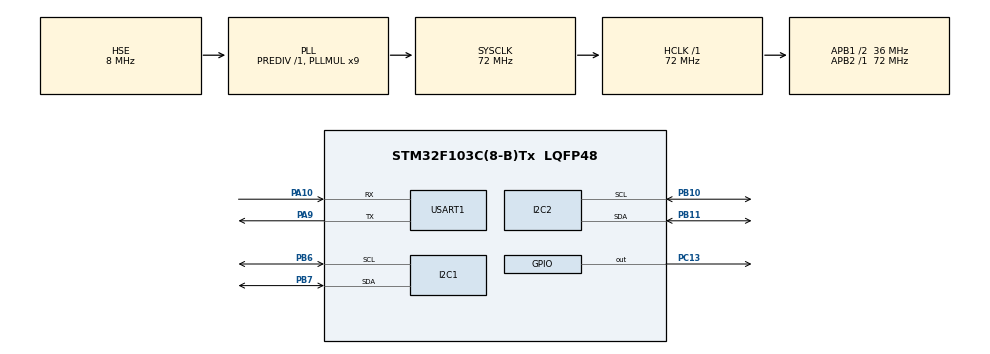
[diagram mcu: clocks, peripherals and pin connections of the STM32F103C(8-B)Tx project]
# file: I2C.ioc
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Dma.I2C1_RX.0.Direction=DMA_PERIPH_TO_MEMORY
Dma.I2C1_RX.0.Instance=DMA1_Channel7
Dma.I2C1_RX.0.MemDataAlignment=DMA_MDATAALIGN_BYTE
Dma.I2C1_RX.0.MemInc=DMA_MINC_ENABLE
Dma.I2C1_RX.0.Mode=DMA_NORMAL
Dma.I2C1_RX.0.PeriphDataAlignment=DMA_PDATAALIGN_BYTE
Dma.I2C1_RX.0.PeriphInc=DMA_PINC_DISABLE
Dma.I2C1_RX.0.Priority=DMA_PRIORITY_LOW
Dma.I2C1_TX.1.Direction=DMA_MEMORY_TO_PERIPH
Dma.I2C1_TX.1.Instance=DMA1_Channel6
Dma.I2C1_TX.1.MemDataAlignment=DMA_MDATAALIGN_BYTE
Dma.I2C1_TX.1.MemInc=DMA_MINC_ENABLE
Dma.I2C1_TX.1.Mode=DMA_NORMAL
Dma.I2C1_TX.1.PeriphDataAlignment=DMA_PDATAALIGN_BYTE
Dma.I2C1_TX.1.PeriphInc=DMA_PINC_DISABLE
Dma.I2C1_TX.1.Priority=DMA_PRIORITY_LOW
Dma.Request0=I2C1_RX
Dma.Request1=I2C1_TX
Mcu.Family=STM32F1
Mcu.Name=STM32F103C(8-B)Tx
Mcu.Package=LQFP48
NVIC.DMA1_Channel6_IRQn=true\:0\:0\:false\:false\:true\:false\:true\:true
NVIC.DMA1_Channel7_IRQn=true\:0\:0\:false\:false\:true\:false\:true\:true
NVIC.PriorityGroup=NVIC_PRIORITYGROUP_4
NVIC.USART1_IRQn=true\:0\:0\:false\:false\:true\:true\:true\:true
PA10.Mode=Asynchronous
PA10.Signal=USART1_RX
PA13.Mode=Serial_Wire
PA13.Signal=SYS_JTMS-SWDIO
PA14.Mode=Serial_Wire
PA14.Signal=SYS_JTCK-SWCLK
PA9.Mode=Asynchronous
PA9.Signal=USART1_TX
PB10.Mode=I2C
PB10.Signal=I2C2_SCL
PB11.Mode=I2C
PB11.Signal=I2C2_SDA
PB6.Mode=I2C
PB6.Signal=I2C1_SCL
PB7.Mode=I2C
PB7.Signal=I2C1_SDA
PC13-TAMPER-RTC.PinState=GPIO_PIN_SET
PC13-TAMPER-RTC.Signal=GPIO_Output
PD0-OSC_IN.Mode=HSE-External-Oscillator
PD0-OSC_IN.Signal=RCC_OSC_IN
PD1-OSC_OUT.Mode=HSE-External-Oscillator
PD1-OSC_OUT.Signal=RCC_OSC_OUT
ProjectManager.HeapSize=0x200
ProjectManager.StackSize=0x400
ProjectManager.TargetToolchain=MDK-ARM V5.32
RCC.AHBFreq_Value=72000000
RCC.APB1CLKDivider=RCC_HCLK_DIV2
RCC.APB1Freq_Value=36000000
RCC.APB1TimFreq_Value=72000000
RCC.APB2Freq_Value=72000000
RCC.APB2TimFreq_Value=72000000
RCC.HCLKFreq_Value=72000000
RCC.PLLMUL=RCC_PLL_MUL9
RCC.PLLSourceVirtual=RCC_PLLSOURCE_HSE
RCC.SYSCLKFreq_VALUE=72000000
RCC.SYSCLKSource=RCC_SYSCLKSOURCE_PLLCLK
RCC.USBFreq_Value=72000000
TIM1.Prescaler=71
USART1.VirtualMode=VM_ASYNC
VP_TIM1_VS_ClockSourceINT.Mode=Internal
board=custom

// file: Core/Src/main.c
/* USER CODE BEGIN Header */
/**
  ******************************************************************************
  * @file           : main.c
  * @brief          : Main program body
  ******************************************************************************
  * @attention
  *
  * Copyright (c) 2024 STMicroelectronics.
  * All rights reserved.
  *
  * This software is licensed under terms that can be found in the LICENSE file
  * in the root directory of this software component.
  * If no LICENSE file comes with this software, it is provided AS-IS.
  *
  ******************************************************************************
  */
/* USER CODE END Header */
#include "main.h"
#include "dma.h"
#include "i2c.h"
#include "tim.h"
#include "usart.h"
#include "gpio.h"

/* USER CODE BEGIN Includes */

#include<stdio.h>
#include "MYI2C.h"
#include "stm32_u8g2.h"
#include "test.h"
#include "string.h"

/* USER CODE END Includes */

void SystemClock_Config(void);

/* USER CODE BEGIN 0 */
uint32_t CT_data[2] = {0, 0};
void transmit(char *data)
{
    HAL_UART_Transmit(&huart1, (uint8_t *)data, strlen(data), HAL_MAX_DELAY);
}

void oled_write(int temperature,int humidity)
{

	char t[5]; // 创建一个足够大的字符数组来存储转换后的数字
	char h[5];
	double t1=( double)temperature;
	double h1=(double)humidity;
	sprintf(t, "%.2f",t1/10 ); // 使用sprintf将int变量转换为字符串
	sprintf(h, "%.2f",h1/10);

	u8g2_t u8g2;
	u8g2Init(&u8g2);
	u8g2_ClearBuffer(&u8g2);
	u8g2_SetFont(&u8g2,u8g2_font_ncenB12_tf);//设置字体格式
	u8g2_DrawXBMP(&u8g2,16,0,16,16,wen);//（参数顺序依次是，结构体、x、y、字宽、字高、储存要显示的字点阵的数组）
	u8g2_DrawXBMP(&u8g2,32,0,16,16,du);
	u8g2_DrawStr(&u8g2,48,16,":");
	u8g2_DrawXBMP(&u8g2,16,32,16,16,shi);
	u8g2_DrawXBMP(&u8g2,32,32,16,16,du);
	u8g2_DrawStr(&u8g2,48,48,":");
	u8g2_DrawUTF8(&u8g2,55,16,t);
	u8g2_DrawUTF8(&u8g2,55,48,h);

	u8g2_SendBuffer(&u8g2);
}

void Oled_write_init()
 {
	u8g2_t u8g2;
    u8g2Init(&u8g2);
	u8g2_ClearBuffer(&u8g2);
	u8g2_SetFont(&u8g2,u8g2_font_ncenB12_tf);//设置字体格式
	u8g2_DrawXBMP(&u8g2,16,0,16,16,wen);//（参数顺序依次是，结构体、x、y、字宽、字高、储存要显示的字点阵的数组）
	u8g2_DrawXBMP(&u8g2,32,0,16,16,du);
	u8g2_DrawStr(&u8g2,48,16,":");
	u8g2_DrawXBMP(&u8g2,16,32,16,16,shi);
	u8g2_DrawXBMP(&u8g2,32,32,16,16,du);
	u8g2_DrawStr(&u8g2,48,48,":");
	u8g2_DrawXBMP(&u8g2,58,0,16,16,dai);
	u8g2_DrawXBMP(&u8g2,74,0,16,16,jian);
	u8g2_DrawXBMP(&u8g2,90,0,16,16,ce);
	u8g2_DrawXBMP(&u8g2,58,32,16,16,dai);
	u8g2_DrawXBMP(&u8g2,74,32,16,16,jian);
	u8g2_DrawXBMP(&u8g2,90,32,16,16,ce);
	u8g2_SendBuffer(&u8g2);
}
/* USER CODE END 0 */

int main(void)
{

  /* USER CODE BEGIN 1 */
//  unsigned int x=16;
  uint32_t CT_data[2]={0,0};
  volatile int  c1,t1;
  Delay_1ms(500);
  /* USER CODE END 1 */

  /* MCU Configuration--------------------------------------------------------*/

  /* Reset of all peripherals, Initializes the Flash interface and the Systick. */
  HAL_Init();

  /* Configure the system clock */
  SystemClock_Config();

  /* Initialize all configured peripherals */
  MX_GPIO_Init();
  MX_DMA_Init();
  MX_I2C1_Init();
  MX_I2C2_Init();
  MX_USART1_UART_Init();
  MX_TIM1_Init();
  /* USER CODE BEGIN 2 */
    AHT20_Init();
	Delay_1ms(500);
    u8g2_t u8g2;
    u8g2Init(&u8g2);

  /* USER CODE END 2 */

  /* Infinite loop */
  /* USER CODE BEGIN WHILE */
  Oled_write_init();
  while (1)
  {
	  //程序烧录成功stm32内置LED灯亮
	    HAL_GPIO_WritePin(GPIOC, GPIO_PIN_13, GPIO_PIN_RESET);
//
//	   OLED显示AHT20的温度和湿度
	  //crc校验后，读取AHT20的温度和湿度数据
		AHT20_Read_CTdata(CT_data);
		c1 = CT_data[0]*1000/1024/1024;  //计算得到湿度值c1（放大了10倍）
		t1 = CT_data[1]*2000/1024/1024-500;//计算得到温度值t1（放大了10倍）
		oled_write(t1,c1);

	  //每隔2s串口发送AHT20的温度和湿度
		transmit("正在检测");
		for(int i=0; i<10; i++)
	  {
			HAL_Delay(100);
			transmit(".");
		}
		transmit("\r\n");
		HAL_Delay(1000);
		char buffer[16]; // 确保缓冲区足够大以存储要发送的字符串
		sprintf(buffer, "温度:%d%d.%d", t1/100, (t1/10)%10, t1%10);
		transmit(buffer);
		sprintf(buffer, "湿度:%d%d.%d", c1/100, (c1/10)%10, c1%10);
		transmit(buffer);
		transmit("\r\n");
		transmit("等待");
		for(int i=0; i<10; i++)
		{
			HAL_Delay(100);
			transmit(".");
		}
		transmit("\r\n");
		HAL_Delay(1000);
		transmit("\r\n");

    /* USER CODE END WHILE */

    /* USER CODE BEGIN 3 */
	//学号加名字
//	u8g2_SetFont(&u8g2,u8g2_font_ncenB12_tf);//设置字体格式
//	//（参数顺序依次是，结构体、x、y、字宽、字高、储存要显示的字点阵的数组）
//	u8g2_DrawXBMP(&u8g2,40,8,16,16,zuo);
//	u8g2_DrawXBMP(&u8g2,56,8,16,16,zuo);
//	u8g2_DrawXBMP(&u8g2,72,8,16,16,zai);
//	u8g2_SetFont(&u8g2,u8g2_font_ncenB10_tf);
//	u8g2_DrawStr(&u8g2,16,50,"632207060723");
//	u8g2_SendBuffer(&u8g2);

	//显示AHT20的温度和湿度

	//左右滑动长字符
//	if(x<=128)
//	{
//		x+=3;//向右滑动，可以提高每次x的增加量来控制滑动速度
//	}
//	else if(x>128)//置零
//	{
//		x=0;
//	}
//	u8g2_SetFont(&u8g2,u8g2_font_ncenB12_tf);//设置字体格式
//	u8g2_DrawXBMP(&u8g2,x,25,16,16,shen);//（参数顺序依次是，结构体、x、y、字宽、字高、储存要显示的字点阵的数组）
//	u8g2_DrawXBMP(&u8g2,x+16,25,16,16,wu);
//	u8g2_DrawXBMP(&u8g2,x+32,25,16,16,cai);
//	u8g2_DrawXBMP(&u8g2,x+48,25,16,16,feng);
//	u8g2_DrawXBMP(&u8g2,x+64,25,16,16,shaung);
//	u8g2_DrawXBMP(&u8g2,x+80,25,16,16,fei);
//	u8g2_DrawXBMP(&u8g2,x+96,25,16,16,yi);
//	u8g2_SetFont(&u8g2,u8g2_font_ncenB10_tf);
//	u8g2_SendBuffer(&u8g2);

	//OLED_TEST
//	u8g2_FirstPage(&u8g2);
//       do
//       {
//				 draw(&u8g2);
//				 u8g2DrawTest(&u8g2);
//       } while (u8g2_NextPage(&u8g2));

  }
  /* USER CODE END 3 */
}

void SystemClock_Config(void)
{
  RCC_OscInitTypeDef RCC_OscInitStruct = {0};
  RCC_ClkInitTypeDef RCC_ClkInitStruct = {0};

  /** Initializes the RCC Oscillators according to the specified parameters
  * in the RCC_OscInitTypeDef structure.
  */
  RCC_OscInitStruct.OscillatorType = RCC_OSCILLATORTYPE_HSE;
  RCC_OscInitStruct.HSEState = RCC_HSE_ON;
  RCC_OscInitStruct.HSEPredivValue = RCC_HSE_PREDIV_DIV1;
  RCC_OscInitStruct.HSIState = RCC_HSI_ON;
  RCC_OscInitStruct.PLL.PLLState = RCC_PLL_ON;
  RCC_OscInitStruct.PLL.PLLSource = RCC_PLLSOURCE_HSE;
  RCC_OscInitStruct.PLL.PLLMUL = RCC_PLL_MUL9;
  if (HAL_RCC_OscConfig(&RCC_OscInitStruct) != HAL_OK)
  {
    Error_Handler();
  }

  /** Initializes the CPU, AHB and APB buses clocks
  */
  RCC_ClkInitStruct.ClockType = RCC_CLOCKTYPE_HCLK|RCC_CLOCKTYPE_SYSCLK
                              |RCC_CLOCKTYPE_PCLK1|RCC_CLOCKTYPE_PCLK2;
  RCC_ClkInitStruct.SYSCLKSource = RCC_SYSCLKSOURCE_PLLCLK;
  RCC_ClkInitStruct.AHBCLKDivider = RCC_SYSCLK_DIV1;
  RCC_ClkInitStruct.APB1CLKDivider = RCC_HCLK_DIV2;
  RCC_ClkInitStruct.APB2CLKDivider = RCC_HCLK_DIV1;

  if (HAL_RCC_ClockConfig(&RCC_ClkInitStruct, FLASH_LATENCY_2) != HAL_OK)
  {
    Error_Handler();
  }
}

void Error_Handler(void)
{
  __disable_irq();
  while (1)
  {
  }
}
